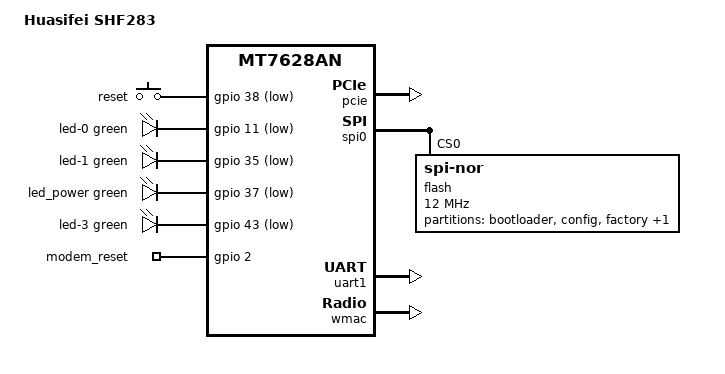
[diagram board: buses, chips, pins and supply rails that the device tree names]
// SPDX-License-Identifier: GPL-2.0-or-later OR MIT

#include "mt7628an.dtsi"

#include <dt-bindings/gpio/gpio.h>
#include <dt-bindings/input/input.h>
#include <dt-bindings/leds/common.h>

/ {
	model = "Huasifei SHF283";
	compatible = "huasifei,shf283", "mediatek,mt7628an-soc";

	aliases {
		led-boot = &led_power;
		led-failsafe = &led_power;
		led-running = &led_power;
		led-upgrade = &led_power;
	};

	chosen {
		bootargs = "console=ttyS0,115200";
	};

	gpio-keys {
		compatible = "gpio-keys";

		button-reset {
			label = "reset";
			gpios = <&gpio 38 GPIO_ACTIVE_LOW>;
			linux,code = <KEY_RESTART>;
		};
	};

	gpio-leds {
		compatible = "gpio-leds";

		led-0 {
			color = <LED_COLOR_ID_GREEN>;
			function = LED_FUNCTION_STATUS;
			gpios = <&gpio 11 GPIO_ACTIVE_LOW>;
		};

		led-1 {
			color = <LED_COLOR_ID_GREEN>;
			function = LED_FUNCTION_WLAN;
			gpios = <&gpio 35 GPIO_ACTIVE_LOW>;
			linux,default-trigger = "phy0tpt";
		};

		led_power: led-2 {
			color = <LED_COLOR_ID_GREEN>;
			function = LED_FUNCTION_POWER;
			gpios = <&gpio 37 GPIO_ACTIVE_LOW>;
		};

		led-3 {
			color = <LED_COLOR_ID_GREEN>;
			function = LED_FUNCTION_WAN;
			gpios = <&gpio 43 GPIO_ACTIVE_LOW>;
		};
	};

	gpio-export {
		compatible = "gpio-export";

		modem-reset {
			gpio-export,name = "modem_reset";
			gpio-export,output = <0>;
			gpios = <&gpio 2 GPIO_ACTIVE_HIGH>;
		};
	};
};

&ethernet {
	nvmem-cells = <&macaddr_factory_28 0>;
	nvmem-cell-names = "mac-address";
};

&pcie {
	status = "okay";
};

&spi0 {
	status = "okay";

	flash@0 {
		compatible = "jedec,spi-nor";
		reg = <0>;
		spi-max-frequency = <12000000>;

		partitions {
			compatible = "fixed-partitions";
			#address-cells = <1>;
			#size-cells = <1>;

			partition@0 {
				label = "bootloader";
				reg = <0x0 0x30000>;
				read-only;
			};

			partition@30000 {
				label = "config";
				reg = <0x30000 0x10000>;
				read-only;
			};

			partition@40000 {
				label = "factory";
				reg = <0x40000 0x10000>;
				read-only;

				nvmem-layout {
					eeprom_factory_0: eeprom@0 {
						reg = <0x0 0x400>;
					};

					macaddr_factory_28: macaddr@28 {
						compatible = "mac-base";
						reg = <0x28 0x6>;
						#nvmem-cell-cells = <1>;
					};
				};
			};

			partition@50000 {
				compatible = "denx,uimage";
				label = "firmware";
				reg = <0x50000 0xfb0000>;
			};
		};
	};
};

&state_default {
	gpio {
		groups = "i2c";
		function = "gpio";
	};
};

&uart1 {
	status = "okay";
};

&wmac {
	nvmem-cells = <&eeprom_factory_0>;
	nvmem-cell-names = "eeprom";
	status = "okay";
};
